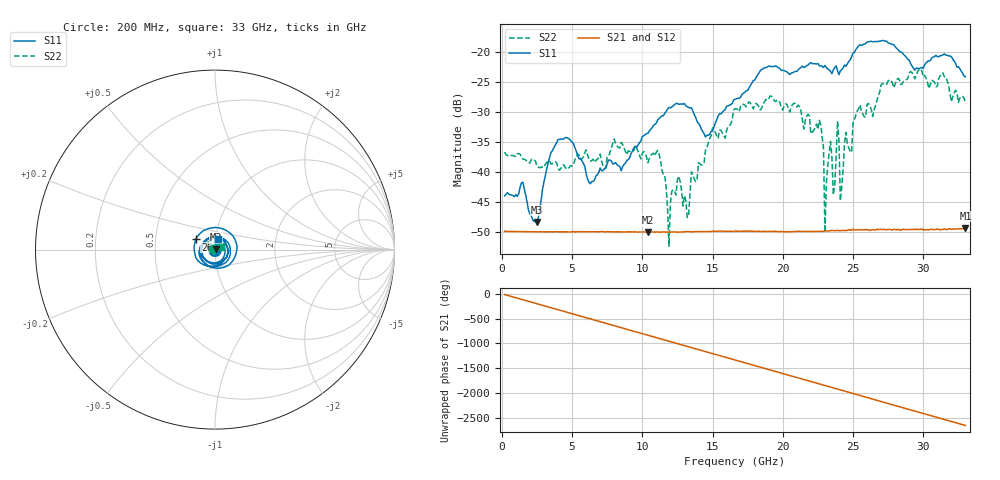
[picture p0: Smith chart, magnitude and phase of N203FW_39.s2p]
# GHZ S RI R 50
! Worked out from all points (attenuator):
!   329 points, 200 MHz to 33 GHz, reference 50 ohm
!   highest |S21| = -49.42 dB at 33 GHz (marker M1); lowest = -50.1 dB at 10.4 GHz (marker M2)
!   lowest |S11| = -48.4 dB at 2.5 GHz (marker M3), VSWR 1.01, Z = 50.4 + j0.124 ohm
!   |S11| at or under -10 dB: start of sweep to end of sweep
!   |S22| runs from -52.4 to -22.7 dB; largest |S21 - S12| = 8.8e-05
!   S11 on the Smith chart (normalised r, x): 200 MHz: 1.01, +0.00; 26 GHz: 0.80, +0.09; 33 GHz: 1.02, +0.12
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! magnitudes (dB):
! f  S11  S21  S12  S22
! 200 MHz  -44.0  -50.0  -49.9  -36.7
! 2.5 GHz  -48.4  -50.1  -50.0  -39.1
! 4 GHz  -34.6  -50.0  -50.0  -39.4
! 5.7 GHz  -38.1  -50.0  -50.0  -37.8
! 10.4 GHz  -33.6  -50.1  -50.1  -38.5
! 11.2 GHz  -31.1  -50.1  -50.1  -37.1
! 11.9 GHz  -29.2  -50.1  -50.0  -52.4
! 12.6 GHz  -28.7  -50.1  -50.1  -40.7
! 13.2 GHz  -29.1  -50.0  -50.0  -47.7
! 16.6 GHz  -27.9  -49.9  -49.9  -29.4
! 22.1 GHz  -21.9  -50.0  -50.0  -33.4
! 22.7 GHz  -22.3  -50.0  -49.9  -32.1
! 22.9 GHz  -22.5  -50.0  -49.9  -36.1
! 23 GHz  -22.2  -49.9  -49.9  -50.1
! 23.4 GHz  -23.2  -49.8  -49.8  -34.9
! 23.6 GHz  -23.0  -49.8  -49.8  -43.9
! 23.9 GHz  -23.1  -49.8  -49.8  -31.5
! 24.1 GHz  -23.1  -49.9  -49.8  -44.8
! 24.5 GHz  -22.3  -49.8  -49.8  -33.4
! 26 GHz  -18.3  -49.7  -49.7  -28.8
! 27.6 GHz  -18.5  -49.6  -49.7  -24.6
! 33 GHz  -24.1  -49.4  -49.5  -28.4
